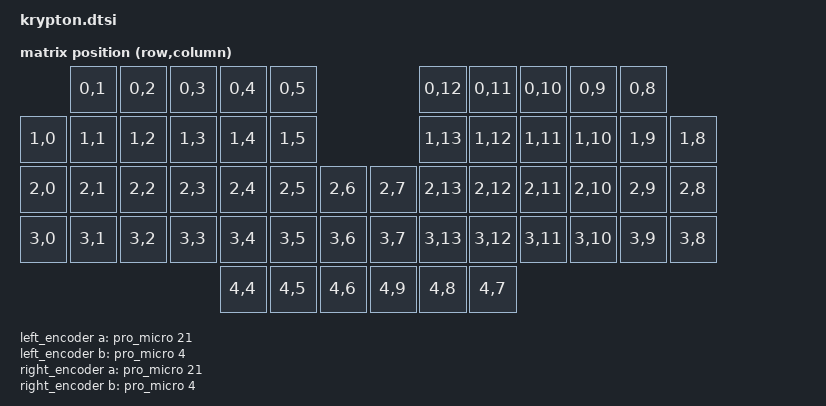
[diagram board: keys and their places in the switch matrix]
#include "krypton-layouts.dtsi"
#include <dt-bindings/zmk/matrix_transform.h>

/ {
    chosen {
        zmk,kscan = &kscan0;
        zmk,physical-layout = &physical_layout0;
    };
};

/ {
    kscan0: kscan0 {
        compatible = "zmk,kscan-gpio-matrix";
        diode-direction = "col2row";
        wakeup-source;
    };
};

/ {
    default_transform_0: default_transform_0 {
        compatible = "zmk,matrix-transform";
        columns = <14>;
        rows = <5>;
        // Left Half                                               Right Half
        // ┌──────┬──────┬──────┬──────┬──────┬──────┐             ┌──────┬──────┬──────┬──────┬──────┬──────┐
        // │      │ L0C1 │ L0C2 │ L0C3 │ L0C4 │ L0C5 │             │ R0C1 │ R0C2 │ R0C3 │ R0C4 │ R0C5 │ R0C6 │
        // │ L1C0 │ L1C1 │ L1C2 │ L1C3 │ L1C4 │ L1C5 │             │ R1C1 │ R1C2 │ R1C3 │ R1C4 │ R1C5 │ R1C6 │
        // │ L2C0 │ L2C1 │ L2C2 │ L2C3 │ L2C4 │ L2C5 │ L2C6 │ R2C0 │ R2C1 │ R2C2 │ R2C3 │ R2C4 │ R2C5 │ R2C6 │
        // │ L3C0 │ L3C1 │ L3C2 │ L3C3 │ L3C4 │ L3C5 │ ENC1 │ ENC2 │ R3C1 │ R3C2 │ R3C3 │ R3C4 │ R3C5 │ R3C6 │
        //                             │ LT1  │ LT2  │ LT3  │ RT1  │ RT2  │ RT3  │ RT4  │

        map = <
                    RC(0,1) RC(0,2) RC(0,3) RC(0,4) RC(0,5)                 RC(0,12) RC(0,11) RC(0,10) RC(0,9) RC(0,8)
            RC(1,0) RC(1,1) RC(1,2) RC(1,3) RC(1,4) RC(1,5)                 RC(1,13) RC(1,12) RC(1,11) RC(1,10) RC(1,9) RC(1,8)
            RC(2,0) RC(2,1) RC(2,2) RC(2,3) RC(2,4) RC(2,5) RC(2,6) RC(2,7) RC(2,13) RC(2,12) RC(2,11) RC(2,10) RC(2,9) RC(2,8)
            RC(3,0) RC(3,1) RC(3,2) RC(3,3) RC(3,4) RC(3,5) RC(3,6) RC(3,7) RC(3,13) RC(3,12) RC(3,11) RC(3,10) RC(3,9) RC(3,8)
                                            RC(4,4) RC(4,5) RC(4,6) RC(4,9) RC(4,8) RC(4,7)
        >;
    };
};

/ {
    left_encoder: encoder_left {
        compatible = "alps,ec11";
        a-gpios = <&pro_micro 21 (GPIO_ACTIVE_HIGH | GPIO_PULL_UP)>;
        b-gpios = <&pro_micro 4 (GPIO_ACTIVE_HIGH | GPIO_PULL_UP)>;
        steps = <20>; // as per: https://keycapsss.com/Rotary-Encoder-with-switch-EC11/KC10028-FS
        status = "disabled";
    };

    right_encoder: encoder_right {
        compatible = "alps,ec11";
        a-gpios = <&pro_micro 21 (GPIO_ACTIVE_HIGH | GPIO_PULL_UP)>;
        b-gpios = <&pro_micro 4 (GPIO_ACTIVE_HIGH | GPIO_PULL_UP)>;
        steps = <20>; // as per: https://keycapsss.com/Rotary-Encoder-with-switch-EC11/KC10028-FS
        status = "disabled";
    };

    sensors {
        compatible = "zmk,keymap-sensors";
        sensors = <&left_encoder &right_encoder>;
        triggers-per-rotation = <20>;
    };
};
